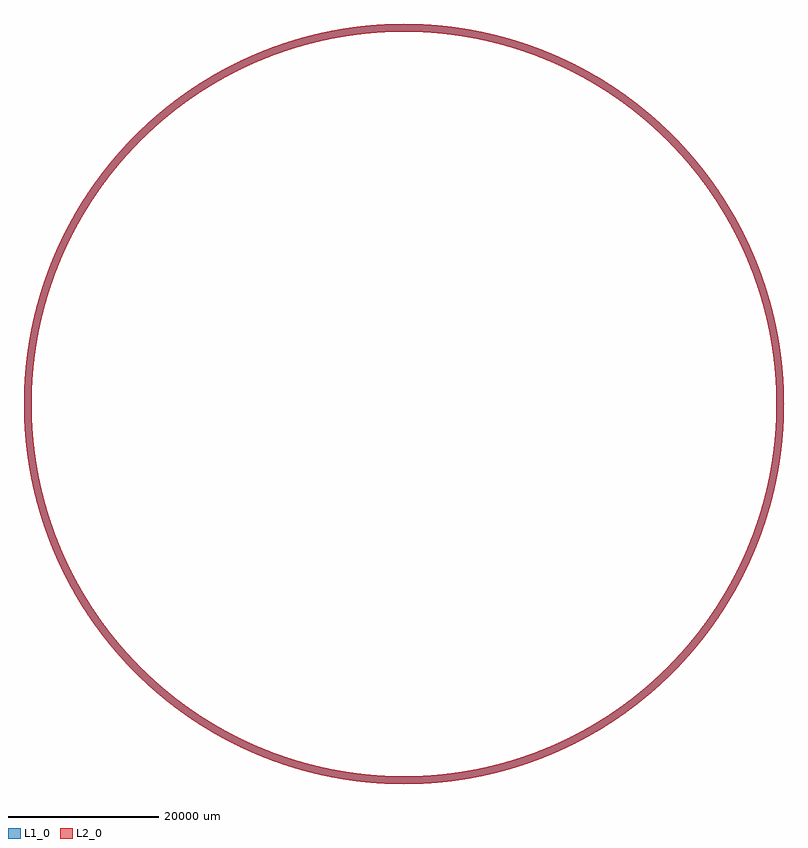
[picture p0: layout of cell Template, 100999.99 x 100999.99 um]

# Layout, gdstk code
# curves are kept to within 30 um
import gdstk
lib = gdstk.Library(unit=1e-6, precision=1e-09)
def P(c, l, *ps):  # polygons
    for p in ps: c.add(gdstk.Polygon(p, *l))
L1_0 = (1, 0)
L2_0 = (2, 0)

wafer_ring_100mm = lib.new_cell('WAFER_RING_100mm')
P(wafer_ring_100mm, L1_0, [(48.105,-50499.977),(3188.845,-50399.219),(6317.238,-50103.318),(-6317.157,-50103.318),(-3156.838,-50401.234)],
  [(-2349.536,-49444.208),(-4567.284,-49288.842),(-6712.886,-49042.708),(-12044.163,-49042.708),(-10257.949,-49447.182)],
  [(10301.831,-49438.065),(12044.18,-49042.708),(6712.886,-49042.708),(4504.026,-49294.662),(2286.081,-49447.182)],
  [(-6775.818,-49034.052),(-8595.585,-48747.984),(-10453.654,-48383.577),(-14466.459,-48383.577),(-12044.163,-49042.708)],
  [(12053.103,-49040.521),(14466.494,-48383.577),(10453.654,-48383.577),(8595.585,-48747.984),(6712.886,-49042.708)],
  [(-10465.545,-48381.013),(-12196.902,-47973.801),(-13851.536,-47522.468),(-17084.028,-47522.468),(-14466.459,-48383.577)],
  [(14527.934,-48365.164),(17084.054,-47522.468),(13851.536,-47522.468),(12135.325,-47989.414),(10453.654,-48383.577)],
  [(-13912.512,-47504.653),(-17057.585,-46468.143),(-19772.725,-46468.143),(-17084.028,-47522.468)],
  [(17086.047,-47521.753),(19772.751,-46468.143),(17057.585,-46468.143),(13851.536,-47522.468)],
  [(-17108.953,-46449.26),(-20110.248,-45230.829),(-22459.322,-45230.829),(-19772.725,-46468.143)],
  [(19831.754,-46442.992),(22459.333,-45230.829),(20110.248,-45230.829),(17057.585,-46468.143)],
  [(-20168.278,-45204.984),(-23064.25,-43798.282),(-25138.825,-43798.282),(-22459.322,-45230.829)],
  [(22509.787,-45205.746),(25138.804,-43798.282),(23064.25,-43798.282),(20110.248,-45230.829)],
  [(-23081.643,-43789.128),(-25868.207,-42202.901),(-27733.809,-42202.901),(-25138.825,-43798.282)],
  [(25166.634,-43782.309),(27733.827,-42202.901),(25868.207,-42202.901),(23064.25,-43798.282)],
  [(-25896.17,-42185.761),(-28547.932,-40438.417),(-30248.693,-40438.417),(-27733.809,-42202.901)],
  [(27787.407,-42167.642),(30248.704,-40438.417),(28547.932,-40438.417),(25868.207,-42202.901),(27733.827,-42202.901)],
  [(-28599.805,-40401.747),(-31092.413,-38516.375),(-32660.952,-38516.375),(-30248.693,-40438.417),(-28547.932,-40438.417)],
  [(30253.602,-40434.757),(32660.968,-38516.375),(31092.413,-38516.375),(28547.932,-40438.417)],
  [(-31131.608,-38484.711),(-33509.827,-36432.684),(-34970.124,-36432.684),(-32660.952,-38516.375),(-31092.413,-38516.375)],
  [(32709.861,-38474.862),(34970.109,-36432.684),(33509.827,-36432.684),(31092.413,-38516.375),(32660.968,-38516.375)],
  [(-33535.276,-36409.275),(-35775.283,-34210.79),(-37146.613,-34210.79),(-34970.124,-36432.684)],
  [(34993.253,-36410.469),(37146.626,-34210.79),(35775.283,-34210.79),(33509.827,-36432.684)],
  [(-35800.915,-34183.98),(-37884.637,-31859.124),(-39182.218,-31859.124),(-37146.613,-34210.79)],
  [(37190.047,-34163.583),(39182.205,-31859.124),(37884.637,-31859.124),(35775.283,-34210.79),(37146.626,-34210.79)],
  [(-37919.2,-31817.987),(-39843.751,-29372.19),(-41079.481,-29372.19),(-39182.218,-31859.124),(-37884.637,-31859.124)],
  [(39202.442,-31834.235),(41079.48,-29372.19),(39843.751,-29372.19),(37884.637,-31859.124)],
  [(-39881.412,-29321.033),(-41645.172,-26756.862),(-42828.96,-26756.862),(-41079.481,-29372.19),(-39843.751,-29372.19)],
  [(41106.47,-29334.419),(42828.955,-26756.862),(41645.172,-26756.862),(39843.751,-29372.19),(41079.48,-29372.19)],
  [(-41679.475,-26703.396),(-43258.961,-24060.575),(-44399.749,-24060.575),(-42828.96,-26756.862),(-41645.172,-26756.862)],
  [(42851.336,-26721.022),(44399.76,-24060.575),(43258.961,-24060.575),(41645.172,-26756.862),(42828.955,-26756.862)],
  [(-43275.184,-24031.405),(-44699.827,-21264.419),(-45804.733,-21264.419),(-44399.749,-24060.575)],
  [(44430.284,-24004.164),(45804.736,-21264.419),(44699.827,-21264.419),(43258.961,-24060.575),(44399.76,-24060.575)],
  [(-44727.079,-21207.037),(-45956.267,-18392.134),(-47031.685,-18392.134),(-45804.733,-21264.419),(-44699.827,-21264.419)],
  [(45810.245,-21252.563),(47031.675,-18392.134),(45956.267,-18392.134),(44699.827,-21264.419)],
  [(-45971.363,-18354.393),(-47033.923,-15429.195),(-48085.234,-15429.195),(-47031.685,-18392.134),(-45956.267,-18392.134)],
  [(47043.356,-18362.263),(48085.225,-15429.195),(47033.923,-15429.195),(45956.267,-18392.134)],
  [(-47053.685,-15368.822),(-47918.869,-12410.925),(-48951.189,-12410.925),(-48085.234,-15429.195),(-47033.923,-15429.195)],
  [(48094.317,-15400.865),(48951.179,-12410.925),(47918.869,-12410.925),(47033.923,-15429.195)],
  [(-47926.488,-12381.51),(-48609.837,-9345.253),(-49627.775,-9345.253),(-48951.189,-12410.925)],
  [(48959.061,-12379.836),(49627.767,-9345.253),(48609.837,-9345.253),(47918.869,-12410.925),(48951.179,-12410.925)],
  [(-48621.79,-9282.863),(-49105.4,-6237.684),(-50113.285,-6237.684),(-49627.775,-9345.253),(-48609.837,-9345.253)],
  [(49634.239,-9310.873),(50113.274,-6237.684),(49105.4,-6237.684),(48609.837,-9345.253),(49627.767,-9345.253)],
  [(-49109.041,-6209.037),(-49402.163,-3110.667),(-50404.103,-3110.667),(-50113.285,-6237.684)],
  [(50117.236,-6205.859),(50404.094,-3110.667),(49402.163,-3110.667),(49105.4,-6237.684),(50113.274,-6237.684)],
  [(-49406.115,-3047.265),(-49500,0),(-50499.99,0),(-50404.103,-3110.667),(-49402.163,-3110.667)],
  [(50406.182,-3076.816),(50500,0),(49500,0),(49402.163,-3110.667),(50404.094,-3110.667)],
  [(-49499.959,63.525),(-49402.163,3110.667),(-50404.103,3110.667),(-50499.99,0),(-49500,0)],
  [(50499.959,64.14),(50404.094,3110.667),(49402.163,3110.667),(49500,0),(50500,0)],
  [(-49398.131,3174.063),(-49101.356,6269.508),(-50109.303,6269.508),(-50404.103,3110.667),(-49402.163,3110.667)],
  [(50402.234,3140.834),(50109.313,6269.508),(49101.356,6269.508),(49402.163,3110.667),(50404.094,3110.667)],
  [(-49101.032,6272.055),(-48609.837,9345.253),(-49627.775,9345.253),(-50109.303,6269.508)],
  [(50101.31,6333.146),(49627.767,9345.253),(48609.837,9345.253),(49101.356,6269.508),(50109.313,6269.508)],
  [(-48597.804,9407.628),(-47910.817,12442.009),(-48943.287,12442.009),(-49250.626,11163.596),(-49627.775,9345.253),(-48609.837,9345.253)],
  [(49622.373,9373.906),(48943.298,12442.009),(47910.817,12442.009),(48609.837,9345.253)],
  [(-47910.559,12443.005),(-47033.197,15431.404),(-48084.527,15431.404),(-48460.961,14205.114),(-48943.287,12442.009)],
  [(48927.456,12504.161),(48084.517,15431.404),(47033.197,15431.404),(47910.817,12442.009),(48943.298,12442.009)],
  [(-47014.084,15489.542),(-45947.771,18413.374),(-47023.363,18413.374),(-47439.836,17312.192),(-48084.527,15431.404),(-47033.197,15431.404)],
  [(48074.718,15461.937),(47023.369,18413.374),(45947.771,18413.374),(47033.197,15431.404),(48084.517,15431.404)],
  [(-45924.103,18472.325),(-44699.827,21264.419),(-45804.733,21264.419),(-46245.536,20287.938),(-47023.363,18413.374),(-45947.771,18413.374)],
  [(47019.996,18421.998),(45804.736,21264.419),(44699.827,21264.419),(45947.771,18413.374)],
  [(-44672.5,21321.766),(-43244.308,24086.922),(-44385.472,24086.922),(-44864.796,23181.891),(-45804.733,21264.419),(-44699.827,21264.419)],
  [(45783.215,21310.73),(44385.461,24086.922),(43244.308,24086.922),(44699.827,21264.419),(45804.736,21264.419)],
  [(-43213.361,24142.399),(-41633.228,26775.426),(-42817.351,26775.426),(-43303.182,25982.386),(-44385.472,24086.922),(-43244.308,24086.922)],
  [(44369.165,24116.948),(42817.363,26775.426),(41633.228,26775.426),(43244.308,24086.922),(44385.461,24086.922)],
  [(-41610.8,26810.285),(-39843.751,29372.19),(-41079.481,29372.19),(-41566.99,28678.133),(-42817.351,26775.426),(-41633.228,26775.426)],
  [(42783.321,26829.787),(41079.48,29372.19),(39843.751,29372.19),(41633.228,26775.426),(42817.363,26775.426)],
  [(-39806.024,29423.298),(-37878.336,31866.623),(-39176.113,31866.623),(-39663.22,31258.263),(-41079.481,29372.19),(-39843.751,29372.19)],
  [(41069.179,29386.605),(39176.107,31866.623),(37878.336,31866.623),(39843.751,29372.19)],
  [(-37837.409,31915.207),(-35757.016,34229.896),(-37129.016,34229.896),(-37556.698,33760.102),(-39176.113,31866.623),(-37878.336,31866.623)],
  [(39161.978,31884),(37129.008,34229.896),(35757.016,34229.896),(37878.336,31866.623)],
  [(-35713.058,34275.756),(-33488.523,36452.281),(-34949.681,36452.281),(-35338.497,36075.485),(-37129.016,34229.896),(-35757.016,34229.896)],
  [(37103.145,34257.943),(34949.692,36452.281),(33488.523,36452.281),(35757.016,34229.896)],
  [(-33441.715,36495.228),(-31082.194,38524.631),(-32651.216,38524.631),(-32929.227,38287.283),(-34949.681,36452.281),(-33488.523,36452.281)],
  [(34946.98,36454.884),(32651.219,38524.631),(31082.194,38524.631),(33488.523,36452.281)],
  [(-31032.728,38564.488),(-28547.932,40438.417),(-30248.693,40438.417),(-30381.84,40338.49),(-32651.216,38524.631),(-31082.194,38524.631)],
  [(32612.022,38557.827),(30248.704,40438.417),(28547.932,40438.417),(31082.194,38524.631),(32651.219,38524.631)],
  [(-28496.013,40475.02),(-25842.01,42218.959),(-27709.374,42218.959),(-30248.693,40438.417),(-28547.932,40438.417)],
  [(30202.221,40473.149),(27709.357,42218.959),(25842.01,42218.959),(28547.932,40438.417),(30248.704,40438.417)],
  [(-25787.808,42252.088),(-23033.935,43814.237),(-25110.986,43814.237),(-27709.374,42218.959),(-25842.01,42218.959)],
  [(27680.203,42238.091),(25111.006,43814.237),(23033.935,43814.237),(25842.01,42218.959)],
  [(-23025.428,43818.714),(-20110.248,45230.829),(-22459.322,45230.829),(-25110.986,43814.237)],
  [(25055.337,43846.096),(22459.333,45230.829),(20110.248,45230.829),(23033.935,43814.237),(25111.006,43814.237)],
  [(-20052.185,45256.6),(-17049.329,46471.178),(-19765.593,46471.178),(-22459.322,45230.829)],
  [(22452.353,45234.299),(19765.606,46471.178),(17049.329,46471.178),(20110.248,45230.829)],
  [(-16989.677,46493.02),(-13851.536,47522.468),(-17084.028,47522.468),(-19765.593,46471.178)],
  [(19713.716,46493.219),(17084.054,47522.468),(13851.536,47522.468),(17049.329,46471.178)],
  [(-13790.538,47540.205),(-12135.325,47989.414),(-10411.094,48392.754),(-14435.765,48392.754),(-17084.028,47522.468)],
  [(17025.676,47543.416),(14435.731,48392.754),(10411.094,48392.754),(12135.325,47989.414),(13851.536,47522.468)],
  [(-10403.447,48394.403),(-8533.018,48758.975),(-6712.886,49042.708),(-12044.163,49042.708),(-14435.765,48392.754)],
  [(14405.031,48401.912),(12044.18,49042.708),(6712.886,49042.708),(8595.585,48747.984),(10411.094,48392.754)],
  [(-6649.942,49051.282),(-4440.761,49300.402),(-2286.081,49447.182),(-10257.949,49447.182),(-12044.163,49042.708)],
  [(11990.807,49055.79),(10257.941,49447.182),(2286.081,49447.182),(4504.026,49294.662),(6712.886,49042.708)],
  [(6253.596,50111.301),(3124.83,50403.228),(-16.035,50499.997),(-3156.838,50401.234),(-6285.418,50107.32)],
  [(63.525,-49499.959),(-2286.081,-49447.182),(-10257.949,-49447.182),(-8316.189,-49810.551),(-6317.157,-50103.318),(63.525,-50103.318)],
  [(6380.869,-50095.254),(8347.819,-49805.26),(10257.941,-49447.182),(2286.081,-49447.182),(63.525,-49499.959),(63.525,-50103.318)],
  [(-2222.622,49450.075),(63.525,49499.959),(63.525,50107.32),(-6285.418,50107.32),(-8252.918,49821.073),(-10257.949,49447.182)],
  [(10239.031,49451.11),(8284.555,49815.822),(6285.333,50107.32),(63.525,50107.32),(63.525,49499.959),(2286.081,49447.182)])
P(wafer_ring_100mm, L2_0, [(48.105,-50499.977),(3188.845,-50399.219),(6317.238,-50103.318),(-6317.157,-50103.318),(-3156.838,-50401.234)],
  [(-2349.536,-49444.208),(-4567.284,-49288.842),(-6712.886,-49042.708),(-12044.163,-49042.708),(-10257.949,-49447.182)],
  [(10301.831,-49438.065),(12044.18,-49042.708),(6712.886,-49042.708),(4504.026,-49294.662),(2286.081,-49447.182)],
  [(-6775.818,-49034.052),(-8595.585,-48747.984),(-10453.654,-48383.577),(-14466.459,-48383.577),(-12044.163,-49042.708)],
  [(12053.103,-49040.521),(14466.494,-48383.577),(10453.654,-48383.577),(8595.585,-48747.984),(6712.886,-49042.708)],
  [(-10465.545,-48381.013),(-12196.902,-47973.801),(-13851.536,-47522.468),(-17084.028,-47522.468),(-14466.459,-48383.577)],
  [(14527.934,-48365.164),(17084.054,-47522.468),(13851.536,-47522.468),(12135.325,-47989.414),(10453.654,-48383.577)],
  [(-13912.512,-47504.653),(-17057.585,-46468.143),(-19772.725,-46468.143),(-17084.028,-47522.468)],
  [(17086.047,-47521.753),(19772.751,-46468.143),(17057.585,-46468.143),(13851.536,-47522.468)],
  [(-17108.953,-46449.26),(-20110.248,-45230.829),(-22459.322,-45230.829),(-19772.725,-46468.143)],
  [(19831.754,-46442.992),(22459.333,-45230.829),(20110.248,-45230.829),(17057.585,-46468.143)],
  [(-20168.278,-45204.984),(-23064.25,-43798.282),(-25138.825,-43798.282),(-22459.322,-45230.829)],
  [(22509.787,-45205.746),(25138.804,-43798.282),(23064.25,-43798.282),(20110.248,-45230.829)],
  [(-23081.643,-43789.128),(-25868.207,-42202.901),(-27733.809,-42202.901),(-25138.825,-43798.282)],
  [(25166.634,-43782.309),(27733.827,-42202.901),(25868.207,-42202.901),(23064.25,-43798.282)],
  [(-25896.17,-42185.761),(-28547.932,-40438.417),(-30248.693,-40438.417),(-27733.809,-42202.901)],
  [(27787.407,-42167.642),(30248.704,-40438.417),(28547.932,-40438.417),(25868.207,-42202.901),(27733.827,-42202.901)],
  [(-28599.805,-40401.747),(-31092.413,-38516.375),(-32660.952,-38516.375),(-30248.693,-40438.417),(-28547.932,-40438.417)],
  [(30253.602,-40434.757),(32660.968,-38516.375),(31092.413,-38516.375),(28547.932,-40438.417)],
  [(-31131.608,-38484.711),(-33509.827,-36432.684),(-34970.124,-36432.684),(-32660.952,-38516.375),(-31092.413,-38516.375)],
  [(32709.861,-38474.862),(34970.109,-36432.684),(33509.827,-36432.684),(31092.413,-38516.375),(32660.968,-38516.375)],
  [(-33535.276,-36409.275),(-35775.283,-34210.79),(-37146.613,-34210.79),(-34970.124,-36432.684)],
  [(34993.253,-36410.469),(37146.626,-34210.79),(35775.283,-34210.79),(33509.827,-36432.684)],
  [(-35800.915,-34183.98),(-37884.637,-31859.124),(-39182.218,-31859.124),(-37146.613,-34210.79)],
  [(37190.047,-34163.583),(39182.205,-31859.124),(37884.637,-31859.124),(35775.283,-34210.79),(37146.626,-34210.79)],
  [(-37919.2,-31817.987),(-39843.751,-29372.19),(-41079.481,-29372.19),(-39182.218,-31859.124),(-37884.637,-31859.124)],
  [(39202.442,-31834.235),(41079.48,-29372.19),(39843.751,-29372.19),(37884.637,-31859.124)],
  [(-39881.412,-29321.033),(-41645.172,-26756.862),(-42828.96,-26756.862),(-41079.481,-29372.19),(-39843.751,-29372.19)],
  [(41106.47,-29334.419),(42828.955,-26756.862),(41645.172,-26756.862),(39843.751,-29372.19),(41079.48,-29372.19)],
  [(-41679.475,-26703.396),(-43258.961,-24060.575),(-44399.749,-24060.575),(-42828.96,-26756.862),(-41645.172,-26756.862)],
  [(42851.336,-26721.022),(44399.76,-24060.575),(43258.961,-24060.575),(41645.172,-26756.862),(42828.955,-26756.862)],
  [(-43275.184,-24031.405),(-44699.827,-21264.419),(-45804.733,-21264.419),(-44399.749,-24060.575)],
  [(44430.284,-24004.164),(45804.736,-21264.419),(44699.827,-21264.419),(43258.961,-24060.575),(44399.76,-24060.575)],
  [(-44727.079,-21207.037),(-45956.267,-18392.134),(-47031.685,-18392.134),(-45804.733,-21264.419),(-44699.827,-21264.419)],
  [(45810.245,-21252.563),(47031.675,-18392.134),(45956.267,-18392.134),(44699.827,-21264.419)],
  [(-45971.363,-18354.393),(-47033.923,-15429.195),(-48085.234,-15429.195),(-47031.685,-18392.134),(-45956.267,-18392.134)],
  [(47043.356,-18362.263),(48085.225,-15429.195),(47033.923,-15429.195),(45956.267,-18392.134)],
  [(-47053.685,-15368.822),(-47918.869,-12410.925),(-48951.189,-12410.925),(-48085.234,-15429.195),(-47033.923,-15429.195)],
  [(48094.317,-15400.865),(48951.179,-12410.925),(47918.869,-12410.925),(47033.923,-15429.195)],
  [(-47926.488,-12381.51),(-48609.837,-9345.253),(-49627.775,-9345.253),(-48951.189,-12410.925)],
  [(48959.061,-12379.836),(49627.767,-9345.253),(48609.837,-9345.253),(47918.869,-12410.925),(48951.179,-12410.925)],
  [(-48621.79,-9282.863),(-49105.4,-6237.684),(-50113.285,-6237.684),(-49627.775,-9345.253),(-48609.837,-9345.253)],
  [(49634.239,-9310.873),(50113.274,-6237.684),(49105.4,-6237.684),(48609.837,-9345.253),(49627.767,-9345.253)],
  [(-49109.041,-6209.037),(-49402.163,-3110.667),(-50404.103,-3110.667),(-50113.285,-6237.684)],
  [(50117.236,-6205.859),(50404.094,-3110.667),(49402.163,-3110.667),(49105.4,-6237.684),(50113.274,-6237.684)],
  [(-49406.115,-3047.265),(-49500,0),(-50499.99,0),(-50404.103,-3110.667),(-49402.163,-3110.667)],
  [(50406.182,-3076.816),(50500,0),(49500,0),(49402.163,-3110.667),(50404.094,-3110.667)],
  [(-49499.959,63.525),(-49402.163,3110.667),(-50404.103,3110.667),(-50499.99,0),(-49500,0)],
  [(50499.959,64.14),(50404.094,3110.667),(49402.163,3110.667),(49500,0),(50500,0)],
  [(-49398.131,3174.063),(-49101.356,6269.508),(-50109.303,6269.508),(-50404.103,3110.667),(-49402.163,3110.667)],
  [(50402.234,3140.834),(50109.313,6269.508),(49101.356,6269.508),(49402.163,3110.667),(50404.094,3110.667)],
  [(-49101.032,6272.055),(-48609.837,9345.253),(-49627.775,9345.253),(-50109.303,6269.508)],
  [(50101.31,6333.146),(49627.767,9345.253),(48609.837,9345.253),(49101.356,6269.508),(50109.313,6269.508)],
  [(-48597.804,9407.628),(-47910.817,12442.009),(-48943.287,12442.009),(-49250.626,11163.596),(-49627.775,9345.253),(-48609.837,9345.253)],
  [(49622.373,9373.906),(48943.298,12442.009),(47910.817,12442.009),(48609.837,9345.253)],
  [(-47910.559,12443.005),(-47033.197,15431.404),(-48084.527,15431.404),(-48460.961,14205.114),(-48943.287,12442.009)],
  [(48927.456,12504.161),(48084.517,15431.404),(47033.197,15431.404),(47910.817,12442.009),(48943.298,12442.009)],
  [(-47014.084,15489.542),(-45947.771,18413.374),(-47023.363,18413.374),(-47439.836,17312.192),(-48084.527,15431.404),(-47033.197,15431.404)],
  [(48074.718,15461.937),(47023.369,18413.374),(45947.771,18413.374),(47033.197,15431.404),(48084.517,15431.404)],
  [(-45924.103,18472.325),(-44699.827,21264.419),(-45804.733,21264.419),(-46245.536,20287.938),(-47023.363,18413.374),(-45947.771,18413.374)],
  [(47019.996,18421.998),(45804.736,21264.419),(44699.827,21264.419),(45947.771,18413.374)],
  [(-44672.5,21321.766),(-43244.308,24086.922),(-44385.472,24086.922),(-44864.796,23181.891),(-45804.733,21264.419),(-44699.827,21264.419)],
  [(45783.215,21310.73),(44385.461,24086.922),(43244.308,24086.922),(44699.827,21264.419),(45804.736,21264.419)],
  [(-43213.361,24142.399),(-41633.228,26775.426),(-42817.351,26775.426),(-43303.182,25982.386),(-44385.472,24086.922),(-43244.308,24086.922)],
  [(44369.165,24116.948),(42817.363,26775.426),(41633.228,26775.426),(43244.308,24086.922),(44385.461,24086.922)],
  [(-41610.8,26810.285),(-39843.751,29372.19),(-41079.481,29372.19),(-41566.99,28678.133),(-42817.351,26775.426),(-41633.228,26775.426)],
  [(42783.321,26829.787),(41079.48,29372.19),(39843.751,29372.19),(41633.228,26775.426),(42817.363,26775.426)],
  [(-39806.024,29423.298),(-37878.336,31866.623),(-39176.113,31866.623),(-39663.22,31258.263),(-41079.481,29372.19),(-39843.751,29372.19)],
  [(41069.179,29386.605),(39176.107,31866.623),(37878.336,31866.623),(39843.751,29372.19)],
  [(-37837.409,31915.207),(-35757.016,34229.896),(-37129.016,34229.896),(-37556.698,33760.102),(-39176.113,31866.623),(-37878.336,31866.623)],
  [(39161.978,31884),(37129.008,34229.896),(35757.016,34229.896),(37878.336,31866.623)],
  [(-35713.058,34275.756),(-33488.523,36452.281),(-34949.681,36452.281),(-35338.497,36075.485),(-37129.016,34229.896),(-35757.016,34229.896)],
  [(37103.145,34257.943),(34949.692,36452.281),(33488.523,36452.281),(35757.016,34229.896)],
  [(-33441.715,36495.228),(-31082.194,38524.631),(-32651.216,38524.631),(-32929.227,38287.283),(-34949.681,36452.281),(-33488.523,36452.281)],
  [(34946.98,36454.884),(32651.219,38524.631),(31082.194,38524.631),(33488.523,36452.281)],
  [(-31032.728,38564.488),(-28547.932,40438.417),(-30248.693,40438.417),(-30381.84,40338.49),(-32651.216,38524.631),(-31082.194,38524.631)],
  [(32612.022,38557.827),(30248.704,40438.417),(28547.932,40438.417),(31082.194,38524.631),(32651.219,38524.631)],
  [(-28496.013,40475.02),(-25842.01,42218.959),(-27709.374,42218.959),(-30248.693,40438.417),(-28547.932,40438.417)],
  [(30202.221,40473.149),(27709.357,42218.959),(25842.01,42218.959),(28547.932,40438.417),(30248.704,40438.417)],
  [(-25787.808,42252.088),(-23033.935,43814.237),(-25110.986,43814.237),(-27709.374,42218.959),(-25842.01,42218.959)],
  [(27680.203,42238.091),(25111.006,43814.237),(23033.935,43814.237),(25842.01,42218.959)],
  [(-23025.428,43818.714),(-20110.248,45230.829),(-22459.322,45230.829),(-25110.986,43814.237)],
  [(25055.337,43846.096),(22459.333,45230.829),(20110.248,45230.829),(23033.935,43814.237),(25111.006,43814.237)],
  [(-20052.185,45256.6),(-17049.329,46471.178),(-19765.593,46471.178),(-22459.322,45230.829)],
  [(22452.353,45234.299),(19765.606,46471.178),(17049.329,46471.178),(20110.248,45230.829)],
  [(-16989.677,46493.02),(-13851.536,47522.468),(-17084.028,47522.468),(-19765.593,46471.178)],
  [(19713.716,46493.219),(17084.054,47522.468),(13851.536,47522.468),(17049.329,46471.178)],
  [(-13790.538,47540.205),(-12135.325,47989.414),(-10411.094,48392.754),(-14435.765,48392.754),(-17084.028,47522.468)],
  [(17025.676,47543.416),(14435.731,48392.754),(10411.094,48392.754),(12135.325,47989.414),(13851.536,47522.468)],
  [(-10403.447,48394.403),(-8533.018,48758.975),(-6712.886,49042.708),(-12044.163,49042.708),(-14435.765,48392.754)],
  [(14405.031,48401.912),(12044.18,49042.708),(6712.886,49042.708),(8595.585,48747.984),(10411.094,48392.754)],
  [(-6649.942,49051.282),(-4440.761,49300.402),(-2286.081,49447.182),(-10257.949,49447.182),(-12044.163,49042.708)],
  [(11990.807,49055.79),(10257.941,49447.182),(2286.081,49447.182),(4504.026,49294.662),(6712.886,49042.708)],
  [(6253.596,50111.301),(3124.83,50403.228),(-16.035,50499.997),(-3156.838,50401.234),(-6285.418,50107.32)],
  [(63.525,-49499.959),(-2286.081,-49447.182),(-10257.949,-49447.182),(-8316.189,-49810.551),(-6317.157,-50103.318),(63.525,-50103.318)],
  [(6380.869,-50095.254),(8347.819,-49805.26),(10257.941,-49447.182),(2286.081,-49447.182),(63.525,-49499.959),(63.525,-50103.318)],
  [(-2222.622,49450.075),(63.525,49499.959),(63.525,50107.32),(-6285.418,50107.32),(-8252.918,49821.073),(-10257.949,49447.182)],
  [(10239.031,49451.11),(8284.555,49815.822),(6285.333,50107.32),(63.525,50107.32),(63.525,49499.959),(2286.081,49447.182)])

c_a1 = lib.new_cell('A1')

c_a2 = lib.new_cell('A2')

c_a3 = lib.new_cell('A3')

c_a4 = lib.new_cell('A4')

c_b1 = lib.new_cell('B1')

c_b2 = lib.new_cell('B2')

c_b3 = lib.new_cell('B3')

c_b4 = lib.new_cell('B4')

c_b5 = lib.new_cell('B5')

c_b6 = lib.new_cell('B6')

c_b7 = lib.new_cell('B7')

c_b8 = lib.new_cell('B8')

c_b9 = lib.new_cell('B9')

b10 = lib.new_cell('B10')

c_c1 = lib.new_cell('C1')

c_c2 = lib.new_cell('C2')

c_c3 = lib.new_cell('C3')

c_c4 = lib.new_cell('C4')

c_c5 = lib.new_cell('C5')

c_c6 = lib.new_cell('C6')

c_c7 = lib.new_cell('C7')

c_c8 = lib.new_cell('C8')

c_c9 = lib.new_cell('C9')

c10 = lib.new_cell('C10')

c11 = lib.new_cell('C11')

c12 = lib.new_cell('C12')

c13 = lib.new_cell('C13')

c14 = lib.new_cell('C14')

c15 = lib.new_cell('C15')

c16 = lib.new_cell('C16')

c_d1 = lib.new_cell('D1')

c_d2 = lib.new_cell('D2')

c_d3 = lib.new_cell('D3')

c_d4 = lib.new_cell('D4')

c_d5 = lib.new_cell('D5')

c_d6 = lib.new_cell('D6')

c_d7 = lib.new_cell('D7')

c_d8 = lib.new_cell('D8')

c_d9 = lib.new_cell('D9')

d10 = lib.new_cell('D10')

d11 = lib.new_cell('D11')

d12 = lib.new_cell('D12')

d13 = lib.new_cell('D13')

d14 = lib.new_cell('D14')

d15 = lib.new_cell('D15')

d16 = lib.new_cell('D16')

d17 = lib.new_cell('D17')

d18 = lib.new_cell('D18')

c_e1 = lib.new_cell('E1')

c_e2 = lib.new_cell('E2')

c_e3 = lib.new_cell('E3')

c_e4 = lib.new_cell('E4')

c_e5 = lib.new_cell('E5')

c_e6 = lib.new_cell('E6')

c_e7 = lib.new_cell('E7')

c_e8 = lib.new_cell('E8')

c_e9 = lib.new_cell('E9')

e10 = lib.new_cell('E10')

e11 = lib.new_cell('E11')

e12 = lib.new_cell('E12')

e13 = lib.new_cell('E13')

e14 = lib.new_cell('E14')

e15 = lib.new_cell('E15')

e16 = lib.new_cell('E16')

e17 = lib.new_cell('E17')

e18 = lib.new_cell('E18')

e19 = lib.new_cell('E19')

e20 = lib.new_cell('E20')

c_f1 = lib.new_cell('F1')

c_f2 = lib.new_cell('F2')

c_f3 = lib.new_cell('F3')

c_f4 = lib.new_cell('F4')

c_f5 = lib.new_cell('F5')

c_f6 = lib.new_cell('F6')

c_f7 = lib.new_cell('F7')

c_f8 = lib.new_cell('F8')

c_f9 = lib.new_cell('F9')

f10 = lib.new_cell('F10')

f11 = lib.new_cell('F11')

f12 = lib.new_cell('F12')

f13 = lib.new_cell('F13')

f14 = lib.new_cell('F14')

f15 = lib.new_cell('F15')

f16 = lib.new_cell('F16')

f17 = lib.new_cell('F17')

f18 = lib.new_cell('F18')

f19 = lib.new_cell('F19')

f20 = lib.new_cell('F20')

c_g1 = lib.new_cell('G1')

c_g2 = lib.new_cell('G2')

c_g3 = lib.new_cell('G3')

c_g4 = lib.new_cell('G4')

c_g5 = lib.new_cell('G5')

c_g6 = lib.new_cell('G6')

c_g7 = lib.new_cell('G7')

c_g8 = lib.new_cell('G8')

c_g9 = lib.new_cell('G9')

g10 = lib.new_cell('G10')

g11 = lib.new_cell('G11')

g12 = lib.new_cell('G12')

g13 = lib.new_cell('G13')

g14 = lib.new_cell('G14')

g15 = lib.new_cell('G15')

g16 = lib.new_cell('G16')

g17 = lib.new_cell('G17')

g18 = lib.new_cell('G18')

g19 = lib.new_cell('G19')

g20 = lib.new_cell('G20')

c_h1 = lib.new_cell('H1')

c_h2 = lib.new_cell('H2')

c_h3 = lib.new_cell('H3')

c_h4 = lib.new_cell('H4')

c_h5 = lib.new_cell('H5')

c_h6 = lib.new_cell('H6')

c_h7 = lib.new_cell('H7')

c_h8 = lib.new_cell('H8')

c_h9 = lib.new_cell('H9')

h10 = lib.new_cell('H10')

h11 = lib.new_cell('H11')

h12 = lib.new_cell('H12')

h13 = lib.new_cell('H13')

h14 = lib.new_cell('H14')

h15 = lib.new_cell('H15')

h16 = lib.new_cell('H16')

h17 = lib.new_cell('H17')

h18 = lib.new_cell('H18')

h19 = lib.new_cell('H19')

h20 = lib.new_cell('H20')

c_i1 = lib.new_cell('I1')

c_i2 = lib.new_cell('I2')

c_i3 = lib.new_cell('I3')

c_i4 = lib.new_cell('I4')

c_i5 = lib.new_cell('I5')

c_i6 = lib.new_cell('I6')

c_i7 = lib.new_cell('I7')

c_i8 = lib.new_cell('I8')

c_i9 = lib.new_cell('I9')

i10 = lib.new_cell('I10')

i11 = lib.new_cell('I11')

i12 = lib.new_cell('I12')

i13 = lib.new_cell('I13')

i14 = lib.new_cell('I14')

i15 = lib.new_cell('I15')

i16 = lib.new_cell('I16')

i17 = lib.new_cell('I17')

i18 = lib.new_cell('I18')

c_j1 = lib.new_cell('J1')

c_j2 = lib.new_cell('J2')

c_j3 = lib.new_cell('J3')

c_j4 = lib.new_cell('J4')

c_j5 = lib.new_cell('J5')

c_j6 = lib.new_cell('J6')

c_j7 = lib.new_cell('J7')

c_j8 = lib.new_cell('J8')

c_j9 = lib.new_cell('J9')

j10 = lib.new_cell('J10')

j11 = lib.new_cell('J11')

j12 = lib.new_cell('J12')

j13 = lib.new_cell('J13')

j14 = lib.new_cell('J14')

j15 = lib.new_cell('J15')

j16 = lib.new_cell('J16')

c_k1 = lib.new_cell('K1')

c_k2 = lib.new_cell('K2')

c_k3 = lib.new_cell('K3')

c_k4 = lib.new_cell('K4')

c_k5 = lib.new_cell('K5')

c_k6 = lib.new_cell('K6')

c_k7 = lib.new_cell('K7')

c_k8 = lib.new_cell('K8')

c_k9 = lib.new_cell('K9')

k10 = lib.new_cell('K10')

c_l1 = lib.new_cell('L1')

c_l2 = lib.new_cell('L2')

c_l3 = lib.new_cell('L3')

c_l4 = lib.new_cell('L4')

template = lib.new_cell('Template')
template.add(gdstk.Reference(wafer_ring_100mm, (0,0)))
template.add(gdstk.Reference(c_a1, (-48000,4500)))
template.add(gdstk.Reference(c_a2, (-48000,0)))
template.add(gdstk.Reference(c_a3, (-48000,-4500)))
template.add(gdstk.Reference(c_a4, (-48000,-9000)))
template.add(gdstk.Reference(c_b1, (-40000,18000)))
template.add(gdstk.Reference(c_b2, (-40000,13500)))
template.add(gdstk.Reference(c_b3, (-40000,9000)))
template.add(gdstk.Reference(c_b4, (-40000,4500)))
template.add(gdstk.Reference(c_b5, (-40000,0)))
template.add(gdstk.Reference(c_b6, (-40000,-4500)))
template.add(gdstk.Reference(c_b7, (-40000,-9000)))
template.add(gdstk.Reference(c_b8, (-40000,-13500)))
template.add(gdstk.Reference(c_b9, (-40000,-18000)))
template.add(gdstk.Reference(b10, (-40000,-22500)))
template.add(gdstk.Reference(c_c1, (-32000,31500)))
template.add(gdstk.Reference(c_c2, (-32000,27000)))
template.add(gdstk.Reference(c_c3, (-32000,22500)))
template.add(gdstk.Reference(c_c4, (-32000,18000)))
template.add(gdstk.Reference(c_c5, (-32000,13500)))
template.add(gdstk.Reference(c_c6, (-32000,9000)))
template.add(gdstk.Reference(c_c7, (-32000,4500)))
template.add(gdstk.Reference(c_c8, (-32000,0)))
template.add(gdstk.Reference(c_c9, (-32000,-4500)))
template.add(gdstk.Reference(c10, (-32000,-9000)))
template.add(gdstk.Reference(c11, (-32000,-13500)))
template.add(gdstk.Reference(c12, (-32000,-18000)))
template.add(gdstk.Reference(c13, (-32000,-22500)))
template.add(gdstk.Reference(c14, (-32000,-27000)))
template.add(gdstk.Reference(c15, (-32000,-31500)))
template.add(gdstk.Reference(c16, (-32000,-36000)))
template.add(gdstk.Reference(c_d1, (-24000,36000)))
template.add(gdstk.Reference(c_d2, (-24000,31500)))
template.add(gdstk.Reference(c_d3, (-24000,27000)))
template.add(gdstk.Reference(c_d4, (-24000,22500)))
template.add(gdstk.Reference(c_d5, (-24000,18000)))
template.add(gdstk.Reference(c_d6, (-24000,13500)))
template.add(gdstk.Reference(c_d7, (-24000,9000)))
template.add(gdstk.Reference(c_d8, (-24000,4500)))
template.add(gdstk.Reference(c_d9, (-24000,0)))
template.add(gdstk.Reference(d10, (-24000,-4500)))
template.add(gdstk.Reference(d11, (-24000,-9000)))
template.add(gdstk.Reference(d12, (-24000,-13500)))
template.add(gdstk.Reference(d13, (-24000,-18000)))
template.add(gdstk.Reference(d14, (-24000,-22500)))
template.add(gdstk.Reference(d15, (-24000,-27000)))
template.add(gdstk.Reference(d16, (-24000,-31500)))
template.add(gdstk.Reference(d17, (-24000,-36000)))
template.add(gdstk.Reference(d18, (-24000,-40500)))
template.add(gdstk.Reference(c_e1, (-16000,40500)))
template.add(gdstk.Reference(c_e2, (-16000,36000)))
template.add(gdstk.Reference(c_e3, (-16000,31500)))
template.add(gdstk.Reference(c_e4, (-16000,27000)))
template.add(gdstk.Reference(c_e5, (-16000,22500)))
template.add(gdstk.Reference(c_e6, (-16000,18000)))
template.add(gdstk.Reference(c_e7, (-16000,13500)))
template.add(gdstk.Reference(c_e8, (-16000,9000)))
template.add(gdstk.Reference(c_e9, (-16000,4500)))
template.add(gdstk.Reference(e10, (-16000,0)))
template.add(gdstk.Reference(e11, (-16000,-4500)))
template.add(gdstk.Reference(e12, (-16000,-9000)))
template.add(gdstk.Reference(e13, (-16000,-13500)))
template.add(gdstk.Reference(e14, (-16000,-18000)))
template.add(gdstk.Reference(e15, (-16000,-22500)))
template.add(gdstk.Reference(e16, (-16000,-27000)))
template.add(gdstk.Reference(e17, (-16000,-31500)))
template.add(gdstk.Reference(e18, (-16000,-36000)))
template.add(gdstk.Reference(e19, (-16000,-40500)))
template.add(gdstk.Reference(e20, (-16000,-45000)))
template.add(gdstk.Reference(c_f1, (-8000,40500)))
template.add(gdstk.Reference(c_f2, (-8000,36000)))
template.add(gdstk.Reference(c_f3, (-8000,31500)))
template.add(gdstk.Reference(c_f4, (-8000,27000)))
template.add(gdstk.Reference(c_f5, (-8000,22500)))
template.add(gdstk.Reference(c_f6, (-8000,18000)))
template.add(gdstk.Reference(c_f7, (-8000,13500)))
template.add(gdstk.Reference(c_f8, (-8000,9000)))
template.add(gdstk.Reference(c_f9, (-8000,4500)))
template.add(gdstk.Reference(f10, (-8000,0)))
template.add(gdstk.Reference(f11, (-8000,-4500)))
template.add(gdstk.Reference(f12, (-8000,-9000)))
template.add(gdstk.Reference(f13, (-8000,-13500)))
template.add(gdstk.Reference(f14, (-8000,-18000)))
template.add(gdstk.Reference(f15, (-8000,-22500)))
template.add(gdstk.Reference(f16, (-8000,-27000)))
template.add(gdstk.Reference(f17, (-8000,-31500)))
template.add(gdstk.Reference(f18, (-8000,-36000)))
template.add(gdstk.Reference(f19, (-8000,-40500)))
template.add(gdstk.Reference(f20, (-8000,-45000)))
template.add(gdstk.Reference(c_g1, (0,40500)))
template.add(gdstk.Reference(c_g2, (0,36000)))
template.add(gdstk.Reference(c_g3, (0,31500)))
template.add(gdstk.Reference(c_g4, (0,27000)))
template.add(gdstk.Reference(c_g5, (0,22500)))
template.add(gdstk.Reference(c_g6, (0,18000)))
template.add(gdstk.Reference(c_g7, (0,13500)))
template.add(gdstk.Reference(c_g8, (0,9000)))
template.add(gdstk.Reference(c_g9, (0,4500)))
template.add(gdstk.Reference(g10, (0,0)))
template.add(gdstk.Reference(g11, (0,-4500)))
template.add(gdstk.Reference(g12, (0,-9000)))
template.add(gdstk.Reference(g13, (0,-13500)))
template.add(gdstk.Reference(g14, (0,-18000)))
template.add(gdstk.Reference(g15, (0,-22500)))
template.add(gdstk.Reference(g16, (0,-27000)))
template.add(gdstk.Reference(g17, (0,-31500)))
template.add(gdstk.Reference(g18, (0,-36000)))
template.add(gdstk.Reference(g19, (0,-40500)))
template.add(gdstk.Reference(g20, (0,-45000)))
template.add(gdstk.Reference(c_h1, (8000,40500)))
template.add(gdstk.Reference(c_h2, (8000,36000)))
template.add(gdstk.Reference(c_h3, (8000,31500)))
template.add(gdstk.Reference(c_h4, (8000,27000)))
template.add(gdstk.Reference(c_h5, (8000,22500)))
template.add(gdstk.Reference(c_h6, (8000,18000)))
template.add(gdstk.Reference(c_h7, (8000,13500)))
template.add(gdstk.Reference(c_h8, (8000,9000)))
template.add(gdstk.Reference(c_h9, (8000,4500)))
template.add(gdstk.Reference(h10, (8000,0)))
template.add(gdstk.Reference(h11, (8000,-4500)))
template.add(gdstk.Reference(h12, (8000,-9000)))
template.add(gdstk.Reference(h13, (8000,-13500)))
template.add(gdstk.Reference(h14, (8000,-18000)))
template.add(gdstk.Reference(h15, (8000,-22500)))
template.add(gdstk.Reference(h16, (8000,-27000)))
template.add(gdstk.Reference(h17, (8000,-31500)))
template.add(gdstk.Reference(h18, (8000,-36000)))
template.add(gdstk.Reference(h19, (8000,-40500)))
template.add(gdstk.Reference(h20, (8000,-45000)))
template.add(gdstk.Reference(c_i1, (16000,36000)))
template.add(gdstk.Reference(c_i2, (16000,31500)))
template.add(gdstk.Reference(c_i3, (16000,27000)))
template.add(gdstk.Reference(c_i4, (16000,22500)))
template.add(gdstk.Reference(c_i5, (16000,18000)))
template.add(gdstk.Reference(c_i6, (16000,13500)))
template.add(gdstk.Reference(c_i7, (16000,9000)))
template.add(gdstk.Reference(c_i8, (16000,4500)))
template.add(gdstk.Reference(c_i9, (16000,0)))
template.add(gdstk.Reference(i10, (16000,-4500)))
template.add(gdstk.Reference(i11, (16000,-9000)))
template.add(gdstk.Reference(i12, (16000,-13500)))
template.add(gdstk.Reference(i13, (16000,-18000)))
template.add(gdstk.Reference(i14, (16000,-22500)))
template.add(gdstk.Reference(i15, (16000,-27000)))
template.add(gdstk.Reference(i16, (16000,-31500)))
template.add(gdstk.Reference(i17, (16000,-36000)))
template.add(gdstk.Reference(i18, (16000,-40500)))
template.add(gdstk.Reference(c_j1, (24000,31500)))
template.add(gdstk.Reference(c_j2, (24000,27000)))
template.add(gdstk.Reference(c_j3, (24000,22500)))
template.add(gdstk.Reference(c_j4, (24000,18000)))
template.add(gdstk.Reference(c_j5, (24000,13500)))
template.add(gdstk.Reference(c_j6, (24000,9000)))
template.add(gdstk.Reference(c_j7, (24000,4500)))
template.add(gdstk.Reference(c_j8, (24000,0)))
template.add(gdstk.Reference(c_j9, (24000,-4500)))
template.add(gdstk.Reference(j10, (24000,-9000)))
template.add(gdstk.Reference(j11, (24000,-13500)))
template.add(gdstk.Reference(j12, (24000,-18000)))
template.add(gdstk.Reference(j13, (24000,-22500)))
template.add(gdstk.Reference(j14, (24000,-27000)))
template.add(gdstk.Reference(j15, (24000,-31500)))
template.add(gdstk.Reference(j16, (24000,-36000)))
template.add(gdstk.Reference(c_k1, (32000,18000)))
template.add(gdstk.Reference(c_k2, (32000,13500)))
template.add(gdstk.Reference(c_k3, (32000,9000)))
template.add(gdstk.Reference(c_k4, (32000,4500)))
template.add(gdstk.Reference(c_k5, (32000,0)))
template.add(gdstk.Reference(c_k6, (32000,-4500)))
template.add(gdstk.Reference(c_k7, (32000,-9000)))
template.add(gdstk.Reference(c_k8, (32000,-13500)))
template.add(gdstk.Reference(c_k9, (32000,-18000)))
template.add(gdstk.Reference(k10, (32000,-22500)))
template.add(gdstk.Reference(c_l1, (40000,4500)))
template.add(gdstk.Reference(c_l2, (40000,0)))
template.add(gdstk.Reference(c_l3, (40000,-4500)))
template.add(gdstk.Reference(c_l4, (40000,-9000)))

lib.write_gds('Template.gds')
